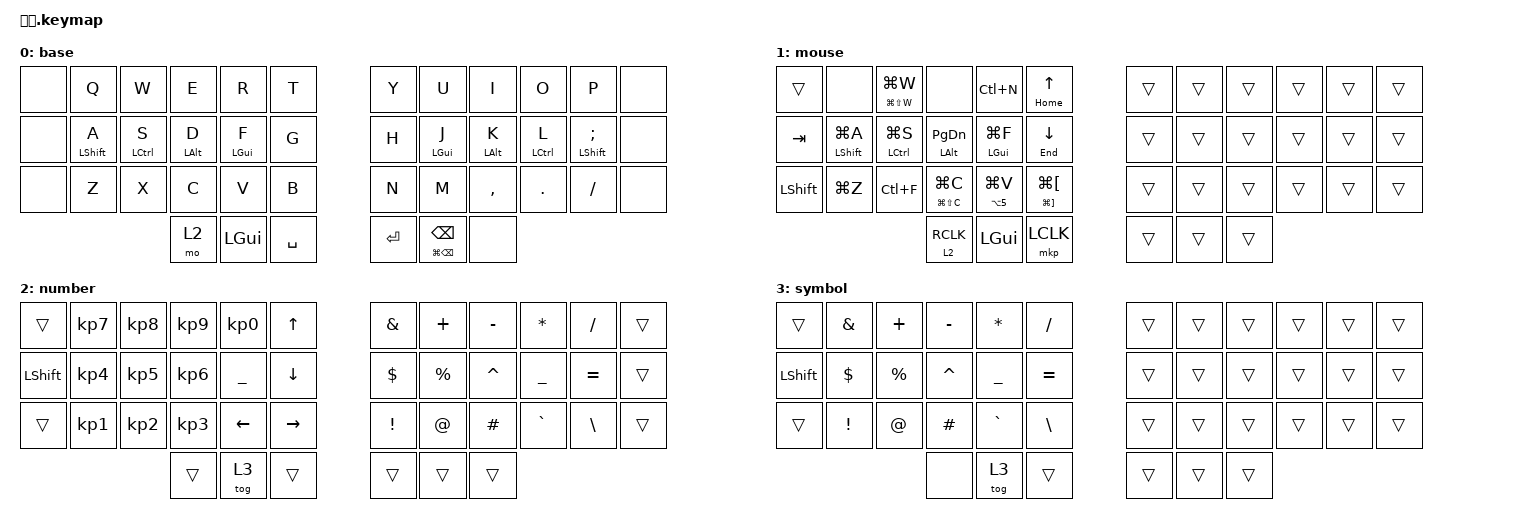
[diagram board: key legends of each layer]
/*
* Copyright (c) 2020 The ZMK Contributors
*
* SPDX-License-Identifier: MIT
*/

#include <behaviors.dtsi>
#include <dt-bindings/zmk/bt.h>
#include <dt-bindings/zmk/keys.h>
#include <dt-bindings/zmk/pointing.h>

/ {
	macros {
		file_change_vscode: file_change_vscode {
			compatible = "zmk,behavior-macro";
			#binding-cells = <0>;
			bindings = <&kp LC(LS(S)) &kp LC(LS(Z))>;
			label = "FILE_CHANGE_VSCODE";
		};
		
		git_status: git_status {
			compatible = "zmk,behavior-macro";
			#binding-cells = <0>;
			bindings = <&kp LC(LS(GRAVE)) &kp G &kp S &kp T &kp ENTER>;
			label = "GIT_STATUS";
		};
		
		git_push: git_push {
			compatible = "zmk,behavior-macro";
			#binding-cells = <0>;
			bindings = <&kp LC(LS(GRAVE)) &kp G &kp G &kp P &kp U &kp S &kp H &kp ENTER>;
			label = "GIT_PUSH";
		};
	};
	
	combos {
		compatible = "zmk,combos";
		
		// Utils
		
		bootloader {
			bindings = <&bootloader>;
			key-positions = <29 4>;
			layers = <1>;
			timeout-ms = <50>;
			slow-release;
		};
		
		bluetooth_reset {
			bindings = <&bt BT_CLR>;
			key-positions = <29 3>;
			timeout-ms = <50>;
			slow-release;
			layers = <1>;
		};
		
		// Common
		
		show_all_app {
			bindings = <&kp LC(UP_ARROW)>;
			key-positions = <16 15>;
			layers = <1 0>;
			timeout-ms = <50>;
		};
		
		show_all_window {
			bindings = <&kp LC(DOWN_ARROW)>;
			key-positions = <14 15>;
			layers = <1 0>;
			timeout-ms = <50>;
		};
		
		search-all-vs-code {
			bindings = <&kp LG(LS(F))>;
			key-positions = <16 28>;
			layers = <1 0>;
			timeout-ms = <20>;
		};
		
		esc {
			bindings = <&kp ESC>;
			key-positions = <1 2>;
			timeout-ms = <20>;
			slow-release;
			layers = <0 1>;
		};
		
		lock {
			bindings = <&kp LG(L)>;
			key-positions = <25 26>;
			timeout-ms = <20>;
			slow-release;
			layers = <0 1>;
		};
		
		// With 36 position
		/// Layer switch
		
		to-layer-mouse {
			bindings = <&to 1>;
			key-positions = <36 25>;
			layers = <0>;
		};
		
		to_base_layout {
			bindings = <&to 0>;
			key-positions = <36 25>;
			layers = <1 2 3>;
		};
		
		/// Key for alpha numeric layer
		
		tab {
			bindings = <&kp TAB>;
			key-positions = <36 5>;
			layers = <0>;
		};
		
		capsLock {
			bindings = <&kp CLCK>;
			key-positions = <27 12>;
			timeout-ms = <50>;
			layers = <0>;
		};
		
		// With 37 position
		
		quit_app {
			bindings = <&kp LG(Q)>;
			key-positions = <37 1>;
			timeout-ms = <50>;
			slow-release;
			layers = <0 1>;
		};
		
		close_window {
			bindings = <&andy_press_hold_or_tap LG(LS(W)) LG(W)>;
			key-positions = <2 3>;
			timeout-ms = <500>;
			slow-release;
			layers = <0 1>;
		};
		
		close_window_2 {
			bindings = <&andy_press_hold_or_tap LG(LS(W)) LG(W)>;
			key-positions = <37 2>;
			timeout-ms = <500>;
			slow-release;
			layers = <0 1>;
		};
		
		refresh {
			bindings = <&kp LG(R)>;
			key-positions = <4 3>;
			timeout-ms = <50>;
			slow-release;
			layers = <0 1>;
		};
		
		refresh_2 {
			bindings = <&kp LG(R)>;
			key-positions = <37 4>;
			timeout-ms = <50>;
			slow-release;
			layers = <0 1>;
		};
		
		select_all {
			bindings = <&kp LG(A)>;
			key-positions = <37 13>;
			timeout-ms = <50>;
			slow-release;
			layers = <0 1>;
		};
		
		save {
			bindings = <&kp LG(S)>;
			key-positions = <37 14>;
			timeout-ms = <50>;
			layers = <0 1>;
		};
		
		undo {
			bindings = <&kp LG(Z)>;
			key-positions = <37 25>;
			timeout-ms = <50>;
			slow-release;
			layers = <0 1>;
		};
		
		search {
			bindings = <&kp LG(F)>;
			key-positions = <37 16>;
			timeout-ms = <50>;
			layers = <0 1>;
		};
		
		copy {
			bindings = <&andy_press_hold_or_tap LG(LS(C)) LG(C)>;
			key-positions = <37 27>;
			timeout-ms = <500>;
			slow-release;
			layers = <0 1>;
		};
		
		paste {
			bindings = <&kp LG(V)>;
			key-positions = <37 28>;
			timeout-ms = <50>;
			layers = <0 1>;
		};
		
		home {
			bindings = <&andy_press_hold_or_tap HOME UP_ARROW>;
			key-positions = <37 5>;
			timeout-ms = <500>;
			slow-release;
			layers = <0 1>;
		};
		
		end {
			bindings = <&andy_press_hold_or_tap END DOWN_ARROW>;
			key-positions = <37 17>;
			timeout-ms = <500>;
			slow-release;
			layers = <0 1>;
		};
		
		back_and_forward {
			bindings = <&andy_press_hold_or_tap LG(RIGHT_BRACKET) LG(LEFT_BRACKET)>;
			key-positions = <37 29>;
			timeout-ms = <500>;
			slow-release;
			layers = <0 1>;
		};
		
		recently_vs_code {
			bindings = <&kp LA(NUMBER_6)>;
			key-positions = <36 4>;
			timeout-ms = <50>;
			layers = <0 1>;
		};
		
		clipboard_history {
			bindings = <&kp LA(NUMBER_5)>;
			key-positions = <36 28>;
			timeout-ms = <50>;
			layers = <0 1>;
		};
		
		slack {
			bindings = <&kp LA(NUMBER_4)>;
			key-positions = <14 12>;
			timeout-ms = <50>;
			layers = <0 1>;
		};
		
		vscode {
			bindings = <&kp LA(NUMBER_1)>;
			key-positions = <12 15>;
			timeout-ms = <50>;
			layers = <0 1>;
		};
		
		browser {
			bindings = <&kp LA(NUMBER_2)>;
			key-positions = <12 13>;
			timeout-ms = <50>;
			layers = <0 1>;
		};
		
		vscode_changes {
			bindings = <&file_change_vscode>;
			key-positions = <27 28>;
			timeout-ms = <50>;
			layers = <0 1>;
		};
		
		delete {
			bindings = <&andy_press_hold_or_tap LG(BACKSPACE) BACKSPACE>;
			key-positions = <36 37>;
			timeout-ms = <500>;
			layers = <0 1>;
		};
		
		enter {
			bindings = <&kp ENTER>;
			key-positions = <37 38>;
			timeout-ms = <50>;
			layers = <0 1>;
		};
		
		left_PARENTHESIS {
			bindings = <&kp LEFT_PARENTHESIS>;
			key-positions = <3 4>;
			timeout-ms = <50>;
			layers = <2 3>;
		};
		
		right_PARENTHESIS {
			bindings = <&kp RIGHT_PARENTHESIS>;
			key-positions = <4 5>;
			timeout-ms = <50>;
			layers = <2 3>;
		};
		
		left_BRACKET {
			bindings = <&kp LEFT_BRACKET>;
			key-positions = <15 16>;
			timeout-ms = <50>;
			layers = <2 3>;
		};
		
		right_BRACKET {
			bindings = <&kp RIGHT_BRACKET>;
			key-positions = <16 17>;
			timeout-ms = <50>;
			layers = <2 3>;
		};
		
		left_BRACE {
			bindings = <&kp LEFT_BRACE>;
			key-positions = <27 28>;
			timeout-ms = <50>;
			layers = <2 3>;
		};
		
		right_BRACE {
			bindings = <&kp RIGHT_BRACE>;
			key-positions = <28 29>;
			timeout-ms = <50>;
			layers = <2 3>;
		};
		
		to-layer-number {
			bindings = <&to 2>;
			key-positions = <36 26>;
			layers = <0 1 3>;
		};
	};
	
	behaviors {
		andy_press_hold_or_tap: andy_press_hold_or_tap {
			compatible = "zmk,behavior-hold-tap";
			label = "ANDY_PRESS_HOLD_OR_TAP";
			bindings = <&kp>, <&kp>;
			
			#binding-cells = <2>;
			flavor = "tap-preferred";
			tapping-term-ms = <350>;
		};
	};
	
	behaviors {
		andy_mouse_tap_or_hold_layer: andy_mouse_tap_or_hold_layer {
			compatible = "zmk,behavior-hold-tap";
			label = "ANDY_MOUSE_TAP_OR_HOLD_LAYER";
			bindings = <&mo>, <&mkp>;
			
			#binding-cells = <2>;
			flavor = "tap-preferred";
			tapping-term-ms = <170>;
		};
	};
	
	keymap {
		compatible = "zmk,keymap";
		
		base {
			bindings = <
			&none  &kp Q                                 &kp W                                   &kp E                               &kp R                               &kp T        &kp Y    &kp U                                            &kp I                               &kp O                                   &kp P                                    &none
			&none  &andy_press_hold_or_tap LEFT_SHIFT A  &andy_press_hold_or_tap LEFT_CONTROL S  &andy_press_hold_or_tap LEFT_ALT D  &andy_press_hold_or_tap LEFT_GUI F  &kp G        &kp H    &andy_press_hold_or_tap LEFT_GUI J               &andy_press_hold_or_tap LEFT_ALT K  &andy_press_hold_or_tap LEFT_CONTROL L  &andy_press_hold_or_tap LEFT_SHIFT SEMI  &none
			&none  &kp Z                                 &kp X                                   &kp C                               &kp V                               &kp B        &kp N    &kp M                                            &kp COMMA                           &kp DOT                                 &kp FSLH                                 &none
			&mo 2                               &kp LEFT_GUI                        &kp SPACE    &kp RET  &andy_press_hold_or_tap LG(BACKSPACE) BACKSPACE  &none
			>;
			
			label = "base";
		};
		
		mouse {
			bindings = <
			&trans          &none                                     &andy_press_hold_or_tap LG(LS(W)) LG(W)     &none                                       &kp LC(N)                                   &andy_press_hold_or_tap HOME UP_ARROW                         &trans  &trans  &trans  &trans  &trans  &trans
			&kp TAB         &andy_press_hold_or_tap LEFT_SHIFT LG(A)  &andy_press_hold_or_tap LEFT_CONTROL LG(S)  &andy_press_hold_or_tap LEFT_ALT PAGE_DOWN  &andy_press_hold_or_tap LEFT_GUI LG(F)      &andy_press_hold_or_tap END DOWN_ARROW                        &trans  &trans  &trans  &trans  &trans  &trans
			&kp LEFT_SHIFT  &kp LG(Z)                                 &kp LC(F)                                   &andy_press_hold_or_tap LG(LS(C)) LG(C)     &andy_press_hold_or_tap LA(NUMBER_5) LG(V)  &andy_press_hold_or_tap LG(RIGHT_BRACKET) LG(LEFT_BRACKET)    &trans  &trans  &trans  &trans  &trans  &trans
			&andy_mouse_tap_or_hold_layer 2 RCLK        &kp LEFT_GUI                                &mkp LCLK                                                     &trans  &trans  &trans
			>;
			
			label = "mouse";
		};
		
		number {
			bindings = <
			&trans          &kp KP_N7  &kp KP_N8  &kp KP_N9  &kp KP_NUMBER_0  &kp UP_ARROW      &kp AMPERSAND    &kp PLUS     &kp MINUS  &kp ASTERISK    &kp SLASH      &trans
			&kp LEFT_SHIFT  &kp KP_N4  &kp KP_N5  &kp KP_N6  &kp UNDERSCORE   &kp DOWN_ARROW    &kp DOLLAR       &kp PERCENT  &kp CARET  &kp UNDERSCORE  &kp EQUAL      &trans
			&trans          &kp KP_N1  &kp KP_N2  &kp KP_N3  &kp LEFT_ARROW   &kp RIGHT         &kp EXCLAMATION  &kp AT_SIGN  &kp HASH   &kp GRAVE       &kp BACKSLASH  &trans
			&trans     &tog 3           &trans            &trans           &trans       &trans
			>;
			
			label = "number";
		};
		
		symbol {
			bindings = <
			&trans          &kp AMPERSAND    &kp PLUS     &kp MINUS  &kp ASTERISK    &kp SLASH        &trans  &trans  &trans  &trans  &trans  &trans
			&kp LEFT_SHIFT  &kp DOLLAR       &kp PERCENT  &kp CARET  &kp UNDERSCORE  &kp EQUAL        &trans  &trans  &trans  &trans  &trans  &trans
			&trans          &kp EXCLAMATION  &kp AT_SIGN  &kp HASH   &kp GRAVE       &kp BACKSLASH    &trans  &trans  &trans  &trans  &trans  &trans
			&none      &tog 3          &trans           &trans  &trans  &trans
			>;
			
			label = "symbol";
		};
	};
};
